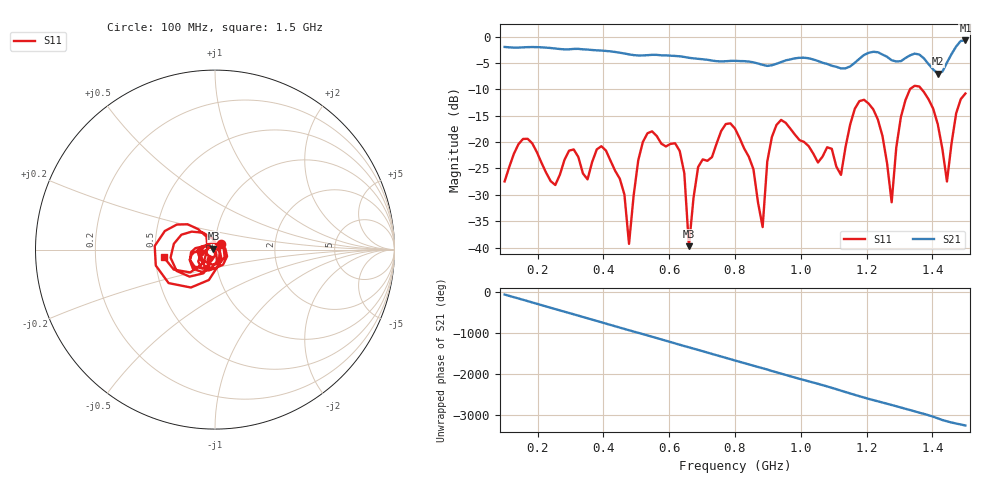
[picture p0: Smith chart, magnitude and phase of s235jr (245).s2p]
! NanoVNA-App
! Date: 2025-09-25 15:06:04
! Start: 100MHz Stop: 1,5GHz Points: 101
! S-Parameter data: F S11 S21 S12 S22
# Hz S RI R 50
!  Frequency  S11_Real  S11_Imag  S21_Real  S21_Imag  S12_Real  S12_Imag  S22_Real  S22_Imag
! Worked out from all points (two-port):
!   101 points, 100 MHz to 1.5 GHz, reference 50 ohm
!   highest |S21| = -0.73 dB at 1.5 GHz (marker M1); lowest = -7.0 dB at 1.416 GHz (marker M2)
!   |S21| within 3 dB of the highest: start of sweep to 631.1 MHz; 1.187 GHz to 1.259 GHz (71.42 MHz wide, 5.84 % of centre) (the widest 2 of 4)
!   lowest |S11| = -39.7 dB at 660 MHz (marker M3), VSWR 1.02, Z = 49.2 + j0.587 ohm
!   |S11| at or under -10 dB: start of sweep to 1.332 GHz; 1.367 GHz to end of sweep
!   S12 and S22 are empty: the file has one direction only
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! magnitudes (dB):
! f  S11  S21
! 100 MHz  -27.5  -2.0
! 156 MHz  -19.4  -2.0
! 338 MHz  -26.0  -2.4
! 408 MHz  -21.6  -2.7
! 478 MHz  -39.3  -3.4
! 520 MHz  -20.0  -3.6
! 576 MHz  -20.3  -3.5
! 632 MHz  -21.7  -3.7
! 660 MHz  -39.7  -4.0
! 688 MHz  -24.7  -4.2
! 800 MHz  -17.4  -4.6
! 884 MHz  -36.1  -5.4
! 926 MHz  -16.8  -5.2
! 1.038 GHz  -22.2  -4.3
! 1.122 GHz  -26.2  -6.0
! 1.192 GHz  -12.0  -3.5
! 1.248 GHz  -18.8  -3.4
! 1.276 GHz  -31.4  -4.5
! 1.332 GHz  -9.9  -3.6
! 1.416 GHz  -16.6  -7.0
! 1.444 GHz  -27.5  -4.9
! 1.5 GHz  -10.8  -0.7
